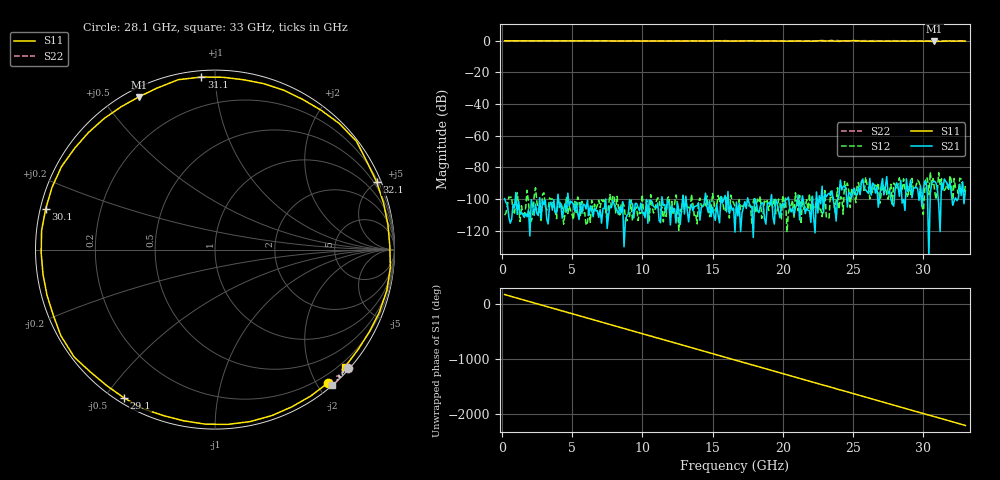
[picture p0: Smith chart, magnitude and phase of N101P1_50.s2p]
# GHZ S RI R 50
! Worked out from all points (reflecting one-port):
!   329 points, 200 MHz to 33 GHz, reference 50 ohm
!   lowest |S11| = -0.4 dB at 30.8 GHz (marker M1), VSWR 39.56, Z = 1.75 + j30.9 ohm
!   phase of S11 starts at 165 deg and turns -2368 deg over the sweep
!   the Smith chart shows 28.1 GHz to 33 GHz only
!   S11 on the Smith chart (normalised r, x): 28.1 GHz: 0.08, -2.16; 29.1 GHz: 0.02, -0.56; 30.1 GHz: 0.02, +0.12; 31.1 GHz: 0.03, +0.92; 32.1 GHz: 0.31, +4.95; 33 GHz: 0.10, -2.59
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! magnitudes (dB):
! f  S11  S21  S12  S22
! 200 MHz  0.0  -99.7  -110.2  0.0
! 5.7 GHz  0.0  -109.1  -101.5  0.0
! 11.2 GHz  -0.2  -113.7  -99.8  0.0
! 16.6 GHz  -0.2  -120.9  -104.9  -0.1
! 22.1 GHz  -0.3  -98.3  -97.7  -0.2
! 22.7 GHz  0.1  -103.0  -106.4  0.2
! 23 GHz  -0.2  -96.6  -94.7  0.0
! 23.4 GHz  0.1  -97.9  -95.2  0.1
! 23.6 GHz  -0.2  -101.1  -99.1  0.0
! 23.9 GHz  -0.2  -100.1  -92.9  0.2
! 24 GHz  -0.4  -97.8  -106.4  -0.1
! 25 GHz  0.2  -94.2  -95.1  0.0
! 25.6 GHz  -0.2  -88.9  -89.7  0.0
! 27.6 GHz  -0.3  -95.1  -94.9  -0.1
! 28.1 GHz  -0.2  -89.8  -93.6  -0.1
! 29.1 GHz  -0.3  -88.0  -97.2  -0.2
! 30.1 GHz  -0.3  -88.7  -95.2  -0.1
! 30.8 GHz  -0.4  -88.7  -93.6  -0.1
! 31.1 GHz  -0.3  -103.1  -83.4  -0.2
! 31.8 GHz  -0.1  -93.3  -94.7  0.0
! 32.1 GHz  -0.2  -103.9  -103.3  -0.3
! 33 GHz  -0.2  -94.6  -91.4  0.0
